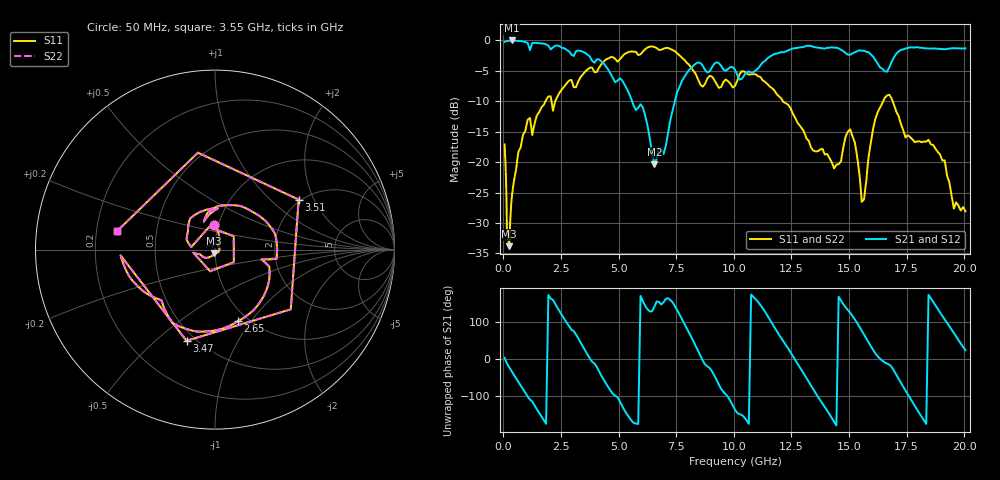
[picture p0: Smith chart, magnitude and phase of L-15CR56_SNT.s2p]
! L-15CR56JE measured in a shunt fixture
#	mhz	s	ma	r	50
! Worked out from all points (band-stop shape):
!   1001 points, 50 MHz to 20.05 GHz, reference 50 ohm
!   highest |S21| = -0.02 dB at 350 MHz (marker M1); lowest = -20.3 dB at 6.55 GHz (marker M2)
!   |S21| within 3 dB of the highest: start of sweep to 3.8 GHz; 11.44 GHz to 16.1 GHz (4.663 GHz wide, 33.9 % of centre)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
!   lowest |S11| = -33.8 dB at 250 MHz (marker M3), VSWR 1.04, Z = 49.5 - j1.97 ohm
!   |S11| at or under -10 dB: start of sweep to 1.823 GHz; 12.13 GHz to 16.48 GHz (4.35 GHz wide, 30.4 % of centre); 16.89 GHz to end of sweep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
!   |S22| runs from -33.8 to -1.0 dB; largest |S21 - S12| = 0
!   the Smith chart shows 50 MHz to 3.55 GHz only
!   S11 on the Smith chart (normalised r, x): 50 MHz: 0.95, +0.27; 2.65 GHz: 0.89, -0.87; 3.47 GHz: 0.45, -0.63; 3.51 GHz: 1.94, +1.54; 3.55 GHz: 0.29, +0.09
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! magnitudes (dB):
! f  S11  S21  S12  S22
! 50 MHz  -17.1  -0.3  -0.3  -17.1
! 250 MHz  -33.8  -0.1  -0.1  -33.8
! 350 MHz  -26.2  0.0  0.0  -26.2
! 1.05 GHz  -13.1  -0.4  -0.4  -13.1
! 2.65 GHz  -7.5  -1.3  -1.3  -7.5
! 3.39 GHz  -5.8  -1.8  -1.8  -5.8
! 3.47 GHz  -5.5  -1.9  -1.9  -5.5
! 3.51 GHz  -5.3  -2.0  -2.0  -5.3
! 3.55 GHz  -5.1  -2.1  -2.1  -5.1
! 6.01 GHz  -2.0  -10.8  -10.8  -2.0
! 6.55 GHz  -1.1  -20.3  -20.3  -1.1
! 6.73 GHz  -1.5  -18.0  -18.0  -1.5
! 8.13 GHz  -4.4  -4.6  -4.6  -4.4
! 10.05 GHz  -7.5  -4.8  -4.8  -7.5
! 11.11 GHz  -6.0  -4.3  -4.3  -6.0
! 13.39 GHz  -17.8  -1.0  -1.0  -17.8
! 14.43 GHz  -20.5  -1.2  -1.2  -20.5
! 15.05 GHz  -14.6  -2.4  -2.4  -14.6
! 15.61 GHz  -26.3  -1.7  -1.7  -26.3
! 16.13 GHz  -13.1  -3.2  -3.2  -13.1
! 16.73 GHz  -9.0  -4.6  -4.6  -9.0
! 20.05 GHz  -28.1  -1.3  -1.3  -28.1
